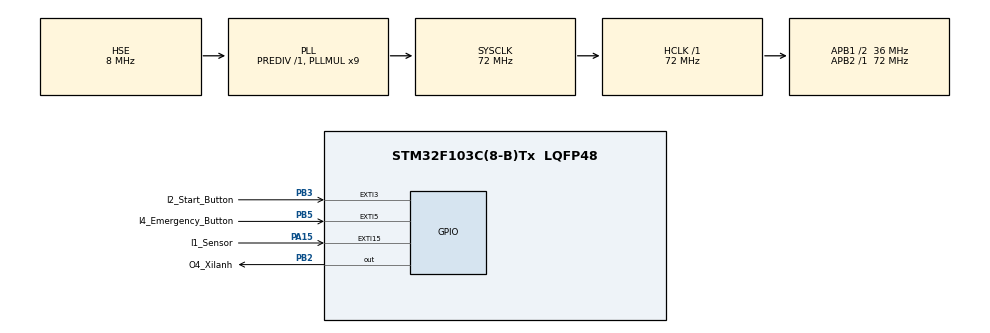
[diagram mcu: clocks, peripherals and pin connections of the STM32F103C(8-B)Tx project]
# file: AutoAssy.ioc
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Mcu.Family=STM32F1
Mcu.Name=STM32F103C(8-B)Tx
Mcu.Package=LQFP48
NVIC.EXTI15_10_IRQn=true\:3\:0\:true\:false\:true\:true\:true\:true
NVIC.EXTI3_IRQn=true\:2\:0\:true\:false\:true\:true\:true\:true
NVIC.EXTI9_5_IRQn=true\:1\:0\:true\:false\:true\:true\:true\:true
NVIC.PriorityGroup=NVIC_PRIORITYGROUP_4
NVIC.TIM1_UP_IRQn=true\:5\:0\:true\:false\:true\:true\:true\:true
PA13.Mode=Serial_Wire
PA13.Signal=SYS_JTMS-SWDIO
PA14.Mode=Serial_Wire
PA14.Signal=SYS_JTCK-SWCLK
PA15.GPIO_Label=I1_Sensor
PA15.GPIO_ModeDefaultEXTI=GPIO_MODE_IT_FALLING
PA15.Signal=GPXTI15
PB2.GPIO_Label=O4_Xilanh
PB2.GPIO_PuPd=GPIO_PULLDOWN
PB2.GPIO_Speed=GPIO_SPEED_FREQ_HIGH
PB2.Signal=GPIO_Output
PB3.GPIO_Label=I2_Start_Button
PB3.GPIO_ModeDefaultEXTI=GPIO_MODE_IT_FALLING
PB3.GPIO_PuPd=GPIO_NOPULL
PB3.Signal=GPXTI3
PB5.GPIO_Label=I4_Emergency_Button
PB5.GPIO_ModeDefaultEXTI=GPIO_MODE_IT_FALLING
PB5.GPIO_PuPd=GPIO_NOPULL
PB5.Signal=GPXTI5
PD0-OSC_IN.Mode=HSE-External-Oscillator
PD0-OSC_IN.Signal=RCC_OSC_IN
PD1-OSC_OUT.Mode=HSE-External-Oscillator
PD1-OSC_OUT.Signal=RCC_OSC_OUT
ProjectManager.HeapSize=0x200
ProjectManager.StackSize=0x400
ProjectManager.TargetToolchain=STM32CubeIDE
RCC.AHBFreq_Value=72000000
RCC.APB1CLKDivider=RCC_HCLK_DIV2
RCC.APB1Freq_Value=36000000
RCC.APB1TimFreq_Value=72000000
RCC.APB2Freq_Value=72000000
RCC.APB2TimFreq_Value=72000000
RCC.HCLKFreq_Value=72000000
RCC.PLLMUL=RCC_PLL_MUL9
RCC.PLLSourceVirtual=RCC_PLLSOURCE_HSE
RCC.SYSCLKFreq_VALUE=72000000
RCC.SYSCLKSource=RCC_SYSCLKSOURCE_PLLCLK
RCC.USBFreq_Value=72000000
TIM1.Period=1000
TIM1.Prescaler=71
VP_TIM1_VS_ClockSourceINT.Mode=Internal
board=custom

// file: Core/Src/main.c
/* USER CODE BEGIN Header */
/**
  ******************************************************************************
  * @file           : main.c
  * @brief          : Main program body
  ******************************************************************************
  * @attention
  *
  * Copyright (c) 2025 STMicroelectronics.
  * All rights reserved.
  *
  * This software is licensed under terms that can be found in the LICENSE file
  * in the root directory of this software component.
  * If no LICENSE file comes with this software, it is provided AS-IS.
  *
  ******************************************************************************
  */
/* USER CODE END Header */
#include "main.h"

/* USER CODE BEGIN PM */

#define BUTTON_PRESS  0U
#define BUTTON_RELEASE 1U

#define XILANH_DOWN()  	HAL_GPIO_WritePin(O4_Xilanh_GPIO_Port, O4_Xilanh_Pin,GPIO_PIN_SET)
#define XILANH_UP()		HAL_GPIO_WritePin(O4_Xilanh_GPIO_Port, O4_Xilanh_Pin,GPIO_PIN_RESET)
#define XILANH_Test()	HAL_GPIO_TogglePin(O4_Xilanh_GPIO_Port, O4_Xilanh_Pin)
#define Sensor_active	!HAL_GPIO_ReadPin(I1_Sensor_GPIO_Port, I1_Sensor_Pin)

#ifndef TIME_OUT
#define TIME_OUT 850
#endif

typedef enum {
    IDLE,           // Chưa nhấn RL → không làm gì
    SENSOR_ACK,    	// Đã chạm cảm biến
    COUNTING        // Sensor đã kích → đang đếm timeout
} state_t;

volatile state_t system_state = IDLE;
/* USER CODE END PM */

TIM_HandleTypeDef htim1;

void SystemClock_Config(void);
static void MX_GPIO_Init(void);
static void MX_TIM1_Init(void);

/* USER CODE BEGIN 0 */

__ALIGNED(1) volatile uint8_t 	RL_button_stt  = BUTTON_RELEASE,
					Emergency_button_stt  = BUTTON_RELEASE,
					Sensor_stt = BUTTON_RELEASE;
__ALIGNED(1) volatile uint32_t G32_Timer_tick = 0;
#if 1
void HAL_GPIO_EXTI_Callback(uint16_t GPIO_Pin)
{
    if (GPIO_Pin == I4_Emergency_Button_Pin) {
        if (!HAL_GPIO_ReadPin(I4_Emergency_Button_GPIO_Port, I4_Emergency_Button_Pin)) {
            XILANH_UP();
            G32_Timer_tick = 0;
            system_state = IDLE;   // reset state
        }
    }
    else if (GPIO_Pin == I2_Start_Button_Pin) {
        if (!HAL_GPIO_ReadPin(I2_Start_Button_GPIO_Port, I2_Start_Button_Pin)) {

            if (system_state == SENSOR_ACK && Sensor_active) {
                XILANH_DOWN();
                G32_Timer_tick = 0;
                system_state = COUNTING;
            }
            // nếu đang IDLE hoặc COUNTING nhấn nút không làm gì
        }
    }

    else if (GPIO_Pin == I1_Sensor_Pin) {
        if (Sensor_active) {
            if (system_state == IDLE) {
            	G32_Timer_tick = 0;
                system_state = SENSOR_ACK;
            }
        }
    }
}

void HAL_TIM_PeriodElapsedCallback(TIM_HandleTypeDef *htim)
{
    if (htim == &htim1) {

        if (system_state == COUNTING) {
            G32_Timer_tick++;

            if (G32_Timer_tick >= TIME_OUT) {
                G32_Timer_tick = 0;
                XILANH_UP();
                system_state = IDLE;
            }
        }
    }
}
#endif

/* USER CODE END 0 */

int main(void)
{

  /* MCU Configuration--------------------------------------------------------*/

  /* Reset of all peripherals, Initializes the Flash interface and the Systick. */
  HAL_Init();

  /* Configure the system clock */
  SystemClock_Config();

  /* Initialize all configured peripherals */
  MX_GPIO_Init();
  MX_TIM1_Init();
  /* USER CODE BEGIN 2 */
  HAL_TIM_Base_Start_IT(&htim1);
  /* USER CODE END 2 */

  /* Infinite loop */
  while (1)
  {

  }
}

void SystemClock_Config(void)
{
  RCC_OscInitTypeDef RCC_OscInitStruct = {0};
  RCC_ClkInitTypeDef RCC_ClkInitStruct = {0};

  /** Initializes the RCC Oscillators according to the specified parameters
  * in the RCC_OscInitTypeDef structure.
  */
  RCC_OscInitStruct.OscillatorType = RCC_OSCILLATORTYPE_HSE;
  RCC_OscInitStruct.HSEState = RCC_HSE_ON;
  RCC_OscInitStruct.HSEPredivValue = RCC_HSE_PREDIV_DIV1;
  RCC_OscInitStruct.HSIState = RCC_HSI_ON;
  RCC_OscInitStruct.PLL.PLLState = RCC_PLL_ON;
  RCC_OscInitStruct.PLL.PLLSource = RCC_PLLSOURCE_HSE;
  RCC_OscInitStruct.PLL.PLLMUL = RCC_PLL_MUL9;
  if (HAL_RCC_OscConfig(&RCC_OscInitStruct) != HAL_OK)
  {
    Error_Handler();
  }

  /** Initializes the CPU, AHB and APB buses clocks
  */
  RCC_ClkInitStruct.ClockType = RCC_CLOCKTYPE_HCLK|RCC_CLOCKTYPE_SYSCLK
                              |RCC_CLOCKTYPE_PCLK1|RCC_CLOCKTYPE_PCLK2;
  RCC_ClkInitStruct.SYSCLKSource = RCC_SYSCLKSOURCE_PLLCLK;
  RCC_ClkInitStruct.AHBCLKDivider = RCC_SYSCLK_DIV1;
  RCC_ClkInitStruct.APB1CLKDivider = RCC_HCLK_DIV2;
  RCC_ClkInitStruct.APB2CLKDivider = RCC_HCLK_DIV1;

  if (HAL_RCC_ClockConfig(&RCC_ClkInitStruct, FLASH_LATENCY_2) != HAL_OK)
  {
    Error_Handler();
  }
}

static void MX_TIM1_Init(void)
{

  TIM_ClockConfigTypeDef sClockSourceConfig = {0};
  TIM_MasterConfigTypeDef sMasterConfig = {0};

  htim1.Instance = TIM1;
  htim1.Init.Prescaler = 71;
  htim1.Init.CounterMode = TIM_COUNTERMODE_UP;
  htim1.Init.Period = 1000;
  htim1.Init.ClockDivision = TIM_CLOCKDIVISION_DIV1;
  htim1.Init.RepetitionCounter = 0;
  htim1.Init.AutoReloadPreload = TIM_AUTORELOAD_PRELOAD_DISABLE;
  if (HAL_TIM_Base_Init(&htim1) != HAL_OK)
  {
    Error_Handler();
  }
  sClockSourceConfig.ClockSource = TIM_CLOCKSOURCE_INTERNAL;
  if (HAL_TIM_ConfigClockSource(&htim1, &sClockSourceConfig) != HAL_OK)
  {
    Error_Handler();
  }
  sMasterConfig.MasterOutputTrigger = TIM_TRGO_RESET;
  sMasterConfig.MasterSlaveMode = TIM_MASTERSLAVEMODE_DISABLE;
  if (HAL_TIMEx_MasterConfigSynchronization(&htim1, &sMasterConfig) != HAL_OK)
  {
    Error_Handler();
  }

}

static void MX_GPIO_Init(void)
{
  GPIO_InitTypeDef GPIO_InitStruct = {0};

  /* GPIO Ports Clock Enable */
  __HAL_RCC_GPIOD_CLK_ENABLE();
  __HAL_RCC_GPIOB_CLK_ENABLE();
  __HAL_RCC_GPIOA_CLK_ENABLE();

  /*Configure GPIO pin Output Level */
  HAL_GPIO_WritePin(O4_Xilanh_GPIO_Port, O4_Xilanh_Pin, GPIO_PIN_RESET);

  /*Configure GPIO pin : O4_Xilanh_Pin */
  GPIO_InitStruct.Pin = O4_Xilanh_Pin;
  GPIO_InitStruct.Mode = GPIO_MODE_OUTPUT_PP;
  GPIO_InitStruct.Pull = GPIO_PULLDOWN;
  GPIO_InitStruct.Speed = GPIO_SPEED_FREQ_HIGH;
  HAL_GPIO_Init(O4_Xilanh_GPIO_Port, &GPIO_InitStruct);

  /*Configure GPIO pin : I1_Sensor_Pin */
  GPIO_InitStruct.Pin = I1_Sensor_Pin;
  GPIO_InitStruct.Mode = GPIO_MODE_IT_FALLING;
  GPIO_InitStruct.Pull = GPIO_NOPULL;
  HAL_GPIO_Init(I1_Sensor_GPIO_Port, &GPIO_InitStruct);

  /*Configure GPIO pins : I2_Start_Button_Pin I4_Emergency_Button_Pin */
  GPIO_InitStruct.Pin = I2_Start_Button_Pin|I4_Emergency_Button_Pin;
  GPIO_InitStruct.Mode = GPIO_MODE_IT_FALLING;
  GPIO_InitStruct.Pull = GPIO_NOPULL;
  HAL_GPIO_Init(GPIOB, &GPIO_InitStruct);

  /* EXTI interrupt init*/
  HAL_NVIC_SetPriority(EXTI3_IRQn, 2, 0);
  HAL_NVIC_EnableIRQ(EXTI3_IRQn);

  HAL_NVIC_SetPriority(EXTI9_5_IRQn, 1, 0);
  HAL_NVIC_EnableIRQ(EXTI9_5_IRQn);

  HAL_NVIC_SetPriority(EXTI15_10_IRQn, 3, 0);
  HAL_NVIC_EnableIRQ(EXTI15_10_IRQn);

}

/* USER CODE BEGIN 4 */

#if 0
void HAL_GPIO_EXTI_Callback(uint16_t GPIO_Pin)
{
	  if(GPIO_Pin == I2_Start_Button_Pin){
		  if(!HAL_GPIO_ReadPin(I2_Start_Button_GPIO_Port, I2_Start_Button_Pin)){
//			  G32_Timer_tick = 0;
//				Sensor_stt =  BUTTON_RELEASE;
				XILANH_DOWN();
		  }
	  }
	  else if(GPIO_Pin == I4_Emergency_Button_Pin){
		  if(!HAL_GPIO_ReadPin(I4_Emergency_Button_GPIO_Port, I4_Emergency_Button_Pin)){
			  XILANH_UP();
			  G32_Timer_tick = 0;
			Sensor_stt =  BUTTON_RELEASE;
		  }
	  }
	  else if(GPIO_Pin == Sensor_Pin){
		  if(!HAL_GPIO_ReadPin(Sensor_GPIO_Port, Sensor_Pin)){
			  G32_Timer_tick = 0;
			  Sensor_stt =  BUTTON_PRESS;
		  }
	  }
}

void HAL_TIM_PeriodElapsedCallback(TIM_HandleTypeDef *htim){
	if(htim == &htim1){
		if(Sensor_stt ==  BUTTON_PRESS){
			G32_Timer_tick ++ ;
			if(G32_Timer_tick >= TIME_OUT){
				G32_Timer_tick = 0;
				 XILANH_UP();
				 Sensor_stt =  BUTTON_RELEASE;
			}
		}
	}
}
#endif
/* USER CODE END 4 */

void Error_Handler(void)
{
  __disable_irq();
  while (1)
  {
  }
}
